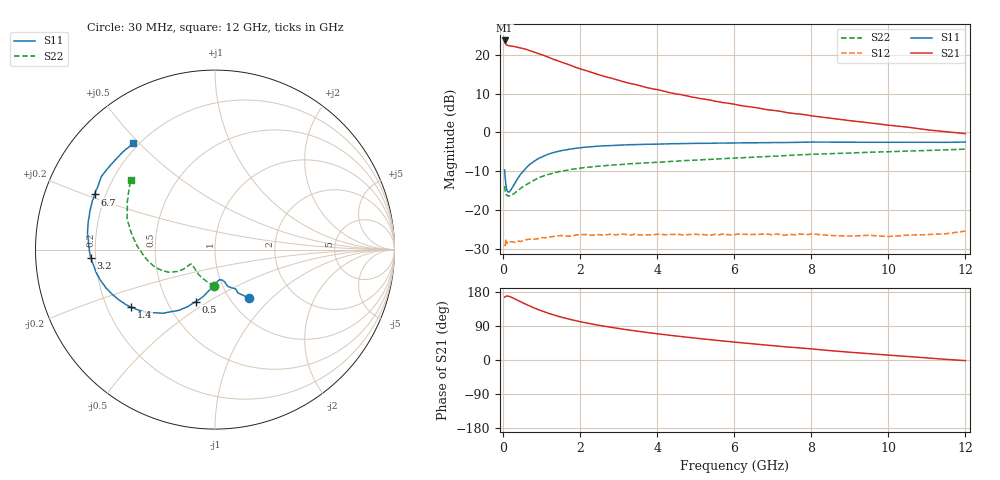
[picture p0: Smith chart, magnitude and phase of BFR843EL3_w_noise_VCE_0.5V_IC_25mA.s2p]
! Infineon Technologies  Discrete & RF Semiconductors
! BFR843EL3
! VCE =  0.5 V,  IC =  25 mA
! Common Emitter S-Parameters:  Aug 2013
# GHz  S  MA  R  50
!  f  S11  S21  S12  S22
! GHz  MAG  ANG  MAG  ANG  MAG  ANG  MAG  ANG
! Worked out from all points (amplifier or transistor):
!   103 points, 30 MHz to 12 GHz, reference 50 ohm
!   highest |S21| = 23.7 dB at 30 MHz (marker M1)
!   |S21| within 3 dB of that: start of sweep to 798.1 MHz
!   unconditionally stable (mu >= 1): start of sweep to 876.7 MHz; 2.812 GHz to end of sweep
!   at 400 MHz: K = 1.13, MAG = 22.8 dB, |S12| = -28.0 dB
!   at 3.7 GHz: K = 1.18, MAG = 16.4 dB, |S12| = -26.4 dB
!   at 12 GHz: K = 2.83, MAG = 5.2 dB, |S12| = -25.4 dB
!   lowest NFmin = 1.21 dB at 450 MHz
!   S11 on the Smith chart (normalised r, x): 30 MHz: 1.22, -0.74; 500 MHz: 0.69, -0.44; 1.4 GHz: 0.30, -0.28; 3.2 GHz: 0.18, -0.03; 6.7 GHz: 0.16, +0.21; 12 GHz: 0.17, +0.48
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0.03  0.3284 -55.0  15.36 165.9  0.0342 28.9  0.204 -91.0
0.04  0.2737 -62.0  14.6 166.5  0.035 20.0  0.1826 -105.1
0.07  0.1999 -72.3  13.6 168.4  0.0378 13.7  0.1587 -129.0
0.1  0.1754 -76.3  13.31 168.8  0.0385 10.5  0.1539 -138.6
0.15  0.1713 -82.6  13.14 167.8  0.0392 8.0  0.1517 -145.4
0.3  0.2231 -96.9  12.78 160.9  0.0383 9.6  0.1664 -148.9
0.5  0.3092 -110.5  12.12 151.1  0.04 8.9  0.1992 -148.3
0.7  0.3929 -120.6  11.28 141.6  0.0421 10.0  0.2277 -149.3
0.9  0.4593 -129.4  10.42 133.2  0.0428 7.9  0.2589 -151.5
1.1  0.5094 -136.5  9.626 125.8  0.0439 9.4  0.2817 -153.5
1.4  0.5672 -145.6  8.437 116.1  0.0466 7.8  0.3093 -157.3
1.7  0.6067 -152.8  7.48 108.0  0.046 8.1  0.3299 -160.7
2.1  0.6447 -160.7  6.376 98.8  0.0483 6.4  0.3526 -164.8
2.6  0.6728 -168.5  5.32 89.4  0.0474 7.5  0.3718 -169.1
3.2  0.6917 -176.0  4.403 80.0  0.0482 5.6  0.3912 -173.3
4.1  0.7096 175.1  3.471 68.0  0.0486 5.6  0.4148 -179.1
4.9  0.7225 168.1  2.856 58.7  0.0485 6.2  0.4377 176.2
6.1  0.7333 159.5  2.253 46.3  0.0491 7.0  0.4699 169.8
6.7  0.7381 155.4  2.031 40.6  0.0488 7.6  0.4859 166.7
8.5  0.7504 144.2  1.526 24.6  0.0469 7.5  0.533 156.6
10.5  0.7481 133.8  1.171 9.3  0.0474 17.2  0.5753 147.0
12  0.7527 127.6  0.967 -1.6  0.0535 22.0  0.6089 140.6
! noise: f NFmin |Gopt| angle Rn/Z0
0.45  1.21  0.13  160  0.13
0.9  1.21  0.13  156  0.12
1.5  1.22  0.15  155  0.11
1.9  1.23  0.15  157  0.11
2.4  1.24  0.16  161  0.11
3.5  1.25  0.18  167  0.11
5.5  1.27  0.25  184  0.1
8  1.29  0.35  202  0.09
10  1.32  0.47  222  0.09
